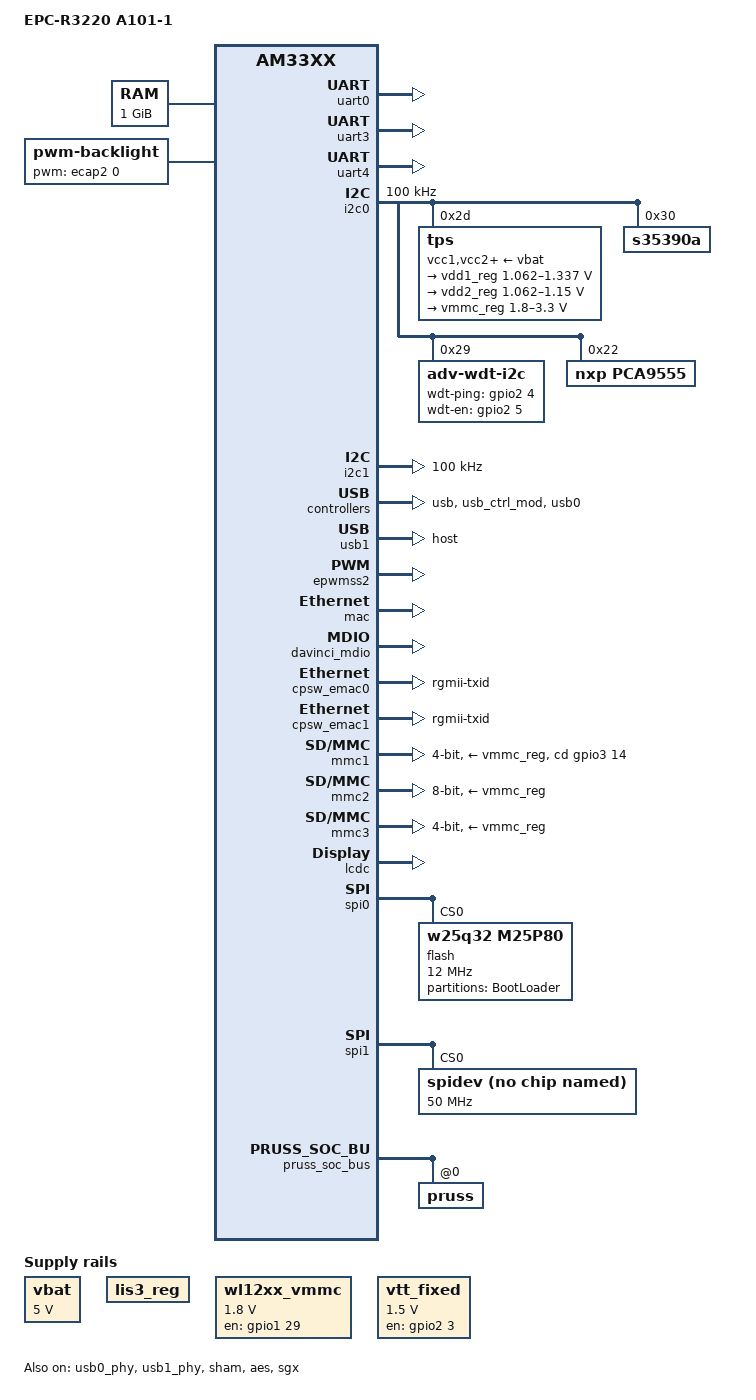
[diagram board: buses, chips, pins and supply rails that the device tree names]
/*
 * Copyright (C) 2012 Texas Instruments Incorporated - http://www.ti.com/
 *
 * This program is free software; you can redistribute it and/or modify
 * it under the terms of the GNU General Public License version 2 as
 * published by the Free Software Foundation.
 */

/*
 * AM335x Starter Kit
 * http://www.ti.com/tool/tmdssk3358
 */

/dts-v1/;

#include "am33xx.dtsi"
#include <dt-bindings/pwm/pwm.h>
#include <dt-bindings/interrupt-controller/irq.h>

/ {
	model = "EPC-R3220 A101-1";
	compatible = "ti,am335x-evmsk", "ti,am33xx";

	cpus {
		cpu@0 {
			cpu0-supply = <&vdd1_reg>;
		};
	};

	memory {
		device_type = "memory";
		reg = <0x80000000 0x40000000>; /*2 * 256 MB */
	};

	vbat: fixedregulator@0 {
		compatible = "regulator-fixed";
		regulator-name = "vbat";
		regulator-min-microvolt = <5000000>;
		regulator-max-microvolt = <5000000>;
		regulator-boot-on;
	};

	lis3_reg: fixedregulator@1 {
		compatible = "regulator-fixed";
		regulator-name = "lis3_reg";
		regulator-boot-on;
	};

	wl12xx_vmmc: fixedregulator@2 {
		pinctrl-names = "default";
		pinctrl-0 = <&wl12xx_gpio>;
		compatible = "regulator-fixed";
		regulator-name = "vwl1271";
		regulator-min-microvolt = <1800000>;
		regulator-max-microvolt = <1800000>;
		gpio = <&gpio1 29 0>;
		startup-delay-us = <70000>;
		enable-active-high;
	};

	vtt_fixed: fixedregulator@3 {
		compatible = "regulator-fixed";
		regulator-name = "vtt";
		regulator-min-microvolt = <1500000>;
		regulator-max-microvolt = <1500000>;
		gpio = <&gpio2 3 GPIO_ACTIVE_HIGH>;
		regulator-always-on;
		regulator-boot-on;
		enable-active-high;
	};

	backlight {
		compatible = "pwm-backlight";
		pwms = <&ecap2 0 50000 0>;
		brightness-levels = <0 5 30 66 75 90 125 170 255>;
		default-brightness-level = <8>;

	};

	panel {
		compatible = "ti,tilcdc,panel";
		pinctrl-names = "default", "sleep";
		/*pinctrl-0 = <&lcd_pins_default>;
		pinctrl-1 = <&lcd_pins_sleep>;*/
		status = "disabled";
		adv_lcd_timing=<111 1 50
						66 1 250
						112 1 0
					>;

		panel-info {
			ac-bias           = <255>;
			ac-bias-intrpt    = <0>;
			dma-burst-sz      = <16>;
			bpp               = <32>;
			fdd               = <0x80>;
			sync-edge         = <0>;
			sync-ctrl         = <1>;
			raster-order      = <0>;
			fifo-th           = <0>;
		};
		display-timings {
			800x480 {
				hactive         = <800>;
				vactive         = <480>;
				hback-porch     = <96>;
				hfront-porch    = <24>;
				hsync-len       = <72>;
				vback-porch     = <3>;
				vfront-porch    = <10>;
				vsync-len       = <7>;
				clock-frequency = <29500000>;
				hsync-active    = <0>;
				vsync-active    = <0>;
			};
		};
	};
};

&am33xx_pinmux {
	pinctrl-names = "default";
	pinctrl-0 = <&wdt_pins_default>;

	ddr3_vtt_toggle: ddr3_vtt_toggle {
		pinctrl-single,pins = <
			AM33XX_IOPAD(0x894, 0x7)	/* gpmc_oen_ren.gpio2_3, OUTPUT | MODE7 */
		>;
	};

	user_leds_default: user_leds_default {
		pinctrl-single,pins = <
			AM33XX_IOPAD(0x810, PIN_OUTPUT_PULLDOWN | MUX_MODE7)	/* gpmc_ad4.gpio1_4 */
			AM33XX_IOPAD(0x814, PIN_OUTPUT_PULLDOWN | MUX_MODE7)	/* gpmc_ad5.gpio1_5 */
			AM33XX_IOPAD(0x818, PIN_OUTPUT_PULLDOWN | MUX_MODE7)	/* gpmc_ad6.gpio1_6 */
			AM33XX_IOPAD(0x81c, PIN_OUTPUT_PULLDOWN | MUX_MODE7)	/* gpmc_ad7.gpio1_7 */
		>;
	};

	user_leds_sleep: user_leds_sleep {
		pinctrl-single,pins = <
			AM33XX_IOPAD(0x810, PIN_INPUT_PULLDOWN | MUX_MODE7)	/* gpmc_a5.gpio1_21 */
			AM33XX_IOPAD(0x814, PIN_INPUT_PULLDOWN | MUX_MODE7)	/* gpmc_a6.gpio1_22 */
			AM33XX_IOPAD(0x818, PIN_INPUT_PULLDOWN | MUX_MODE7)	/* gpmc_a7.gpio1_23 */
			AM33XX_IOPAD(0x81c, PIN_INPUT_PULLDOWN | MUX_MODE7)	/* gpmc_a8.gpio1_24 */
		>;
	};

	i2c0_pins: pinmux_i2c0_pins {
		pinctrl-single,pins = <
			AM33XX_IOPAD(0x988, PIN_INPUT_PULLUP | MUX_MODE0)	/* i2c0_sda.i2c0_sda */
			AM33XX_IOPAD(0x98c, PIN_INPUT_PULLUP | MUX_MODE0)	/* i2c0_scl.i2c0_scl */
		>;
	};
	
	i2c1_pins: i2c1_pins {
		pinctrl-single,pins = <
			AM33XX_IOPAD(0x96c, PIN_INPUT | MUX_MODE3 ) /* (E17) uart0_rtsn.I2C1_SCL */
			AM33XX_IOPAD(0x968, PIN_INPUT | MUX_MODE3 ) /* (E18) uart0_ctsn.I2C1_SDA */
		>;
	};

	uart0_pins: pinmux_uart0_pins {
		pinctrl-single,pins = <
			AM33XX_IOPAD(0x970, PIN_INPUT_PULLUP | MUX_MODE0)	/* uart0_rxd.uart0_rxd */
			AM33XX_IOPAD(0x974, PIN_OUTPUT_PULLDOWN | MUX_MODE0)		/* uart0_txd.uart0_txd */
		>;
	};

	uart1_pins_default: pinmux_uart1_pins_default {
		pinctrl-single,pins = <
			AM33XX_IOPAD(0x978, PIN_INPUT | MUX_MODE0)			/* uart1_ctsn.uart1_ctsn */
			AM33XX_IOPAD(0x97C, PIN_OUTPUT_PULLDOWN | MUX_MODE0)		/* uart1_rtsn.uart1_rtsn */
			AM33XX_IOPAD(0x980, PIN_INPUT_PULLUP | MUX_MODE0)		/* uart1_rxd.uart1_rxd */
			AM33XX_IOPAD(0x984, PIN_OUTPUT_PULLDOWN | MUX_MODE0) 	/* uart1_txd.uart1_txd */
		>;
	};

	uart1_pins_sleep: pinmux_uart1_pins_sleep {
		pinctrl-single,pins = <
			AM33XX_IOPAD(0x978, PIN_INPUT_PULLDOWN | MUX_MODE7)
			AM33XX_IOPAD(0x97C, PIN_INPUT_PULLDOWN | MUX_MODE7)
			AM33XX_IOPAD(0x980, PIN_INPUT_PULLDOWN | MUX_MODE7)
			AM33XX_IOPAD(0x984, PIN_INPUT_PULLDOWN | MUX_MODE7)
		>;
	};

	uart2_pins_default: pinmux_uart2_pins_default {
		pinctrl-single,pins = <
			AM33XX_IOPAD(0x90c, PIN_INPUT_PULLUP | MUX_MODE6)		/* mii1_crs.uart2_rxd */
			AM33XX_IOPAD(0x910, PIN_OUTPUT_PULLDOWN | MUX_MODE6) 	/* mii1_rxerr.uart2_txd */
		>;
	};

	uart2_pins_sleep: pinmux_uart2_pins_sleep {
		pinctrl-single,pins = <
			AM33XX_IOPAD(0x90c, PIN_INPUT_PULLDOWN | MUX_MODE7)
			AM33XX_IOPAD(0x910, PIN_INPUT_PULLDOWN | MUX_MODE7)
		>;
	};

	uart3_pins_default: pinmux_uart3_pins_default {
		pinctrl-single,pins = <
			AM33XX_IOPAD(0x960, PIN_INPUT | MUX_MODE1 ) /* (C15) spi0_cs1.uart3_rxd */
			AM33XX_IOPAD(0x964, PIN_OUTPUT | MUX_MODE1 ) /* (C18) eCAP0_in_PWM0_out.uart3_txd */
			AM33XX_IOPAD(0x8c8, PIN_INPUT | MUX_MODE6 ) /* (U3) lcd_data10.uart3_ctsn */
			AM33XX_IOPAD(0x8cc, PIN_OUTPUT | MUX_MODE6 ) /* (U4) lcd_data11.uart3_rtsn */
		>;
	};

	uart3_pins_sleep: pinmux_uart3_pins_sleep {
		pinctrl-single,pins = <
			AM33XX_IOPAD(0x960, PIN_INPUT_PULLDOWN | MUX_MODE7)
			AM33XX_IOPAD(0x964, PIN_INPUT_PULLDOWN | MUX_MODE7)
			AM33XX_IOPAD(0x8c8, PIN_INPUT_PULLDOWN | MUX_MODE7) /* (U3) lcd_data10.uart3_ctsn */
			AM33XX_IOPAD(0x8cc, PIN_INPUT_PULLDOWN | MUX_MODE7) /* (U4) lcd_data11.uart3_rtsn */
		>;
	};

	uart3_rs485_mode: pinmux_uart3_rs485 {
                pinctrl-single,pins = <
			AM33XX_IOPAD(0x960, PIN_INPUT | MUX_MODE1 ) /* (C15) spi0_cs1.uart3_rxd */
			AM33XX_IOPAD(0x964, PIN_OUTPUT | MUX_MODE1 ) /* (C18) eCAP0_in_PWM0_out.uart3_txd */
			AM33XX_IOPAD(0x8c8, PIN_INPUT_PULLDOWN | MUX_MODE7) /* (U3) lcd_data10.uart3_ctsn */
                        AM33XX_IOPAD(0x8cc, PIN_OUTPUT_PULLUP | MUX_MODE7 ) /* (U4) lcd_data11.uart3_rtsn */
                >;
	};

	uart4_pins_default: pinmux_uart4_pins_default {
		pinctrl-single,pins = <
			AM33XX_IOPAD(0x870, PIN_INPUT_PULLUP | MUX_MODE6)		/* gpmc_wait0.uart4_rxd */
			AM33XX_IOPAD(0x874, PIN_OUTPUT_PULLDOWN | MUX_MODE6) 		/* gpmc_wpn.uart4_txd */
			AM33XX_IOPAD(0x8d0, PIN_INPUT | MUX_MODE6 ) /* (V2) lcd_data12.uart4_ctsn */
			AM33XX_IOPAD(0x8d4, PIN_OUTPUT | MUX_MODE6 ) /* (V3) lcd_data13.uart4_rtsn */
		>;
	};

	uart4_pins_sleep: pinmux_uart4_pins_sleep {
		pinctrl-single,pins = <
			AM33XX_IOPAD(0x870, PIN_INPUT_PULLDOWN | MUX_MODE7)
			AM33XX_IOPAD(0x874, PIN_INPUT_PULLDOWN | MUX_MODE7)
			AM33XX_IOPAD(0x8d0, PIN_INPUT_PULLDOWN | MUX_MODE7) /* (V2) lcd_data12.uart4_ctsn */
			AM33XX_IOPAD(0x8d4, PIN_INPUT_PULLDOWN | MUX_MODE7) /* (V3) lcd_data13.uart4_rtsn */
		>;
	};

	uart4_rs485_mode: pinmux_uart4_rs485 {
		pinctrl-single,pins = <
			AM33XX_IOPAD(0x870, PIN_INPUT_PULLUP | MUX_MODE6)		/* gpmc_wait0.uart4_rxd */
			AM33XX_IOPAD(0x874, PIN_OUTPUT_PULLDOWN | MUX_MODE6) 		/* gpmc_wpn.uart4_txd */
			AM33XX_IOPAD(0x8d0, PIN_INPUT_PULLDOWN | MUX_MODE7) /* (V2) lcd_data12.uart4_ctsn */
			AM33XX_IOPAD(0x8d4, PIN_OUTPUT_PULLUP | MUX_MODE7 ) /* (V3) lcd_data13.uart4_rtsn */
		>;
	};

	uart5_pins_default: pinmux_uart5_pins_default {
		pinctrl-single,pins = <
			AM33XX_IOPAD(0x908, PIN_INPUT_PULLUP | MUX_MODE3)		/* mii1_col.uart5_rxd */
			AM33XX_IOPAD(0x944, PIN_OUTPUT_PULLDOWN | MUX_MODE3) 	/* rmii1_refclk.uart5_txd */
		>;
	};

	uart5_pins_sleep: pinmux_uart5_pins_sleep {
		pinctrl-single,pins = <
			AM33XX_IOPAD(0x908, PIN_INPUT_PULLDOWN | MUX_MODE7)
			AM33XX_IOPAD(0x944, PIN_INPUT_PULLDOWN | MUX_MODE7)
		>;
	};

	usb0_pins_default: pinmux_usb0_pins {
		pinctrl-single,pins = <
			AM33XX_IOPAD(0xa1c, PIN_OUTPUT_PULLDOWN | MUX_MODE0) /* usb0_drvvbus.usb0_drvvbus */
			AM33XX_IOPAD(0xa34, PIN_OUTPUT_PULLDOWN | MUX_MODE0) /* usb1_drvvbus.usb1_drvvbus */
		>;
	};

	dcan1_pins_default: dcan1_pins_default {
		pinctrl-single,pins = <
			AM33XX_IOPAD(0x968, PIN_OUTPUT | MUX_MODE2) 		/* uart0_ctsn.d_can1_tx */
			AM33XX_IOPAD(0x96c, PIN_INPUT_PULLDOWN | MUX_MODE2) /* uart0_rtsn.d_can1_rx */
		>;
	};

	clkout2_pin: pinmux_clkout2_pin {
		pinctrl-single,pins = <
			AM33XX_IOPAD(0x9b4, PIN_OUTPUT_PULLDOWN | MUX_MODE3)		/* xdma_event_intr1.clkout2 */
		>;
	};

	ecap2_pins: backlight_pins {
		pinctrl-single,pins = <
			AM33XX_IOPAD(0x99c, 0x4)	/* mcasp0_ahclkr.ecap2_in_pwm2_out MODE4 */
		>;
	};

	spi0_pins: pinmux_spi0_pins {
		pinctrl-single,pins = <
			AM33XX_IOPAD(0x950, PIN_INPUT_PULLUP | MUX_MODE0)          /* sspi0_sclk.spi0_sclk */
			AM33XX_IOPAD(0x954, PIN_INPUT_PULLUP | MUX_MODE0)          /* spi0_d0.spi0_d0 */
			AM33XX_IOPAD(0x958, PIN_OUTPUT_PULLUP | MUX_MODE0)         /* spi0_d1.spi0_d1 */
			AM33XX_IOPAD(0x95c, PIN_OUTPUT_PULLUP | MUX_MODE0)         /* spi0_cs0.spi0_cs0 */
		>;
	};
	
	spi1_pins: spi1_pins {
		pinctrl-single,pins = <
			AM33XX_IOPAD(0x908, PIN_INPUT | MUX_MODE2 ) /* (H16) gmii1_col.spi1_sclk */
			AM33XX_IOPAD(0x90c, PIN_INPUT | MUX_MODE2 ) /* (H17) gmii1_crs.spi1_d0 */
			AM33XX_IOPAD(0x910, PIN_INPUT | MUX_MODE2 ) /* (J15) gmii1_rxer.spi1_d1 */
			AM33XX_IOPAD(0x944, PIN_INPUT | MUX_MODE2 ) /* (H18) rmii1_refclk.spi1_cs0 */
		>;
	};

	wdt_pins_default: pinmux_wdt_pins_default {
		pinctrl-single,pins = <
			AM33XX_IOPAD(0x89c, PIN_OUTPUT_PULLUP | MUX_MODE7 ) /* (T6) gpmc_be0n_cle.gpio2[5] */
			AM33XX_IOPAD(0x898, PIN_OUTPUT_PULLUP | MUX_MODE7) 		/* gpmc_wen.gpio2_4 */
		>;
	};

	cpsw_default: cpsw_default {
		pinctrl-single,pins = <
			/* Slave 1 */
			AM33XX_IOPAD(0x914, PIN_OUTPUT_PULLDOWN | MUX_MODE2)	/* mii1_txen.rgmii1_tctl */
			AM33XX_IOPAD(0x918, PIN_INPUT_PULLDOWN | MUX_MODE2)	/* mii1_rxdv.rgmii1_rctl */
			AM33XX_IOPAD(0x91c, PIN_OUTPUT_PULLDOWN | MUX_MODE2)	/* mii1_txd3.rgmii1_td3 */
			AM33XX_IOPAD(0x920, PIN_OUTPUT_PULLDOWN | MUX_MODE2)	/* mii1_txd2.rgmii1_td2 */
			AM33XX_IOPAD(0x924, PIN_OUTPUT_PULLDOWN | MUX_MODE2)	/* mii1_txd1.rgmii1_td1 */
			AM33XX_IOPAD(0x928, PIN_OUTPUT_PULLDOWN | MUX_MODE2)	/* mii1_txd0.rgmii1_td0 */
			AM33XX_IOPAD(0x92c, PIN_OUTPUT_PULLDOWN | MUX_MODE2)	/* mii1_txclk.rgmii1_tclk */
			AM33XX_IOPAD(0x930, PIN_INPUT_PULLDOWN | MUX_MODE2)	/* mii1_rxclk.rgmii1_rclk */
			AM33XX_IOPAD(0x934, PIN_INPUT_PULLDOWN | MUX_MODE2)	/* mii1_rxd3.rgmii1_rd3 */
			AM33XX_IOPAD(0x938, PIN_INPUT_PULLDOWN | MUX_MODE2)	/* mii1_rxd2.rgmii1_rd2 */
			AM33XX_IOPAD(0x93c, PIN_INPUT_PULLDOWN | MUX_MODE2)	/* mii1_rxd1.rgmii1_rd1 */
			AM33XX_IOPAD(0x940, PIN_INPUT_PULLDOWN | MUX_MODE2)	/* mii1_rxd0.rgmii1_rd0 */

			/* Slave 2 */
			AM33XX_IOPAD(0x840, PIN_OUTPUT_PULLDOWN | MUX_MODE2)	/* gpmc_a0.rgmii2_tctl */
			AM33XX_IOPAD(0x844, PIN_INPUT_PULLDOWN | MUX_MODE2)	/* gpmc_a1.rgmii2_rctl */
			AM33XX_IOPAD(0x848, PIN_OUTPUT_PULLDOWN | MUX_MODE2)	/* gpmc_a2.rgmii2_td3 */
			AM33XX_IOPAD(0x84c, PIN_OUTPUT_PULLDOWN | MUX_MODE2)	/* gpmc_a3.rgmii2_td2 */
			AM33XX_IOPAD(0x850, PIN_OUTPUT_PULLDOWN | MUX_MODE2)	/* gpmc_a4.rgmii2_td1 */
			AM33XX_IOPAD(0x854, PIN_OUTPUT_PULLDOWN | MUX_MODE2)	/* gpmc_a5.rgmii2_td0 */
			AM33XX_IOPAD(0x858, PIN_OUTPUT_PULLDOWN | MUX_MODE2)	/* gpmc_a6.rgmii2_tclk */
			AM33XX_IOPAD(0x85c, PIN_INPUT_PULLDOWN | MUX_MODE2)	/* gpmc_a7.rgmii2_rclk */
			AM33XX_IOPAD(0x860, PIN_INPUT_PULLDOWN | MUX_MODE2)	/* gpmc_a8.rgmii2_rd3 */
			AM33XX_IOPAD(0x864, PIN_INPUT_PULLDOWN | MUX_MODE2)	/* gpmc_a9.rgmii2_rd2 */
			AM33XX_IOPAD(0x868, PIN_INPUT_PULLDOWN | MUX_MODE2)	/* gpmc_a10.rgmii2_rd1 */
			AM33XX_IOPAD(0x86c, PIN_INPUT_PULLDOWN | MUX_MODE2)	/* gpmc_a11.rgmii2_rd0 */
		>;
	};

	cpsw_sleep: cpsw_sleep {
		pinctrl-single,pins = <
			/* Slave 1 reset value */
			AM33XX_IOPAD(0x914, PIN_INPUT_PULLDOWN | MUX_MODE7)
			AM33XX_IOPAD(0x918, PIN_INPUT_PULLDOWN | MUX_MODE7)
			AM33XX_IOPAD(0x91c, PIN_INPUT_PULLDOWN | MUX_MODE7)
			AM33XX_IOPAD(0x920, PIN_INPUT_PULLDOWN | MUX_MODE7)
			AM33XX_IOPAD(0x924, PIN_INPUT_PULLDOWN | MUX_MODE7)
			AM33XX_IOPAD(0x928, PIN_INPUT_PULLDOWN | MUX_MODE7)
			AM33XX_IOPAD(0x92c, PIN_INPUT_PULLDOWN | MUX_MODE7)
			AM33XX_IOPAD(0x930, PIN_INPUT_PULLDOWN | MUX_MODE7)
			AM33XX_IOPAD(0x934, PIN_INPUT_PULLDOWN | MUX_MODE7)
			AM33XX_IOPAD(0x938, PIN_INPUT_PULLDOWN | MUX_MODE7)
			AM33XX_IOPAD(0x93c, PIN_INPUT_PULLDOWN | MUX_MODE7)
			AM33XX_IOPAD(0x940, PIN_INPUT_PULLDOWN | MUX_MODE7)

			/* Slave 2 reset value*/
			AM33XX_IOPAD(0x840, PIN_INPUT_PULLDOWN | MUX_MODE7)
			AM33XX_IOPAD(0x844, PIN_INPUT_PULLDOWN | MUX_MODE7)
			AM33XX_IOPAD(0x848, PIN_INPUT_PULLDOWN | MUX_MODE7)
			AM33XX_IOPAD(0x84c, PIN_INPUT_PULLDOWN | MUX_MODE7)
			AM33XX_IOPAD(0x850, PIN_INPUT_PULLDOWN | MUX_MODE7)
			AM33XX_IOPAD(0x854, PIN_INPUT_PULLDOWN | MUX_MODE7)
			AM33XX_IOPAD(0x858, PIN_INPUT_PULLDOWN | MUX_MODE7)
			AM33XX_IOPAD(0x85c, PIN_INPUT_PULLDOWN | MUX_MODE7)
			AM33XX_IOPAD(0x860, PIN_INPUT_PULLDOWN | MUX_MODE7)
			AM33XX_IOPAD(0x864, PIN_INPUT_PULLDOWN | MUX_MODE7)
			AM33XX_IOPAD(0x868, PIN_INPUT_PULLDOWN | MUX_MODE7)
			AM33XX_IOPAD(0x86c, PIN_INPUT_PULLDOWN | MUX_MODE7)
		>;
	};

	davinci_mdio_default: davinci_mdio_default {
		pinctrl-single,pins = <
			/* MDIO */
			AM33XX_IOPAD(0x948, PIN_INPUT_PULLUP | SLEWCTRL_FAST | MUX_MODE0)	/* mdio_data.mdio_data */
			AM33XX_IOPAD(0x94c, PIN_OUTPUT_PULLUP | MUX_MODE0)			/* mdio_clk.mdio_clk */
		>;
	};

	davinci_mdio_sleep: davinci_mdio_sleep {
		pinctrl-single,pins = <
			/* MDIO reset value */
			AM33XX_IOPAD(0x948, PIN_INPUT_PULLDOWN | MUX_MODE7)
			AM33XX_IOPAD(0x94c, PIN_INPUT_PULLDOWN | MUX_MODE7)
		>;
	};

	mmc1_pins: pinmux_mmc1_pins {
		pinctrl-single,pins = <
			AM33XX_IOPAD(0x8F0, PIN_INPUT_PULLUP | MUX_MODE0)	/* mmc0_dat3.mmc0_dat3 */
			AM33XX_IOPAD(0x8F4, PIN_INPUT_PULLUP | MUX_MODE0)	/* mmc0_dat2.mmc0_dat2 */
			AM33XX_IOPAD(0x8F8, PIN_INPUT_PULLUP | MUX_MODE0)	/* mmc0_dat1.mmc0_dat1 */
			AM33XX_IOPAD(0x8FC, PIN_INPUT_PULLUP | MUX_MODE0)	/* mmc0_dat0.mmc0_dat0 */
			AM33XX_IOPAD(0x900, PIN_INPUT_PULLUP | MUX_MODE0)	/* mmc0_clk.mmc0_clk */
			AM33XX_IOPAD(0x904, PIN_INPUT_PULLUP | MUX_MODE0)	/* mmc0_cmd.mmc0_cmd */
			AM33XX_IOPAD(0x9A0, PIN_INPUT_PULLUP | MUX_MODE7)	/* mcasp0_aclkr.gpio3_18 */
			AM33XX_IOPAD(0x990, PIN_INPUT_PULLUP | MUX_MODE7)	/* mcasp0_aclkx.gpio3_14 */
		>;
	};

	mcasp1_pins: mcasp1_pins {
		pinctrl-single,pins = <
			AM33XX_IOPAD(0x90c, PIN_INPUT_PULLDOWN | MUX_MODE4) /* mii1_crs.mcasp1_aclkx */
			AM33XX_IOPAD(0x910, PIN_INPUT_PULLDOWN | MUX_MODE4) /* mii1_rxerr.mcasp1_fsx */
			AM33XX_IOPAD(0x908, PIN_OUTPUT_PULLDOWN | MUX_MODE4) /* mii1_col.mcasp1_axr2 */
			AM33XX_IOPAD(0x944, PIN_INPUT_PULLDOWN | MUX_MODE4) /* rmii1_ref_clk.mcasp1_axr3 */
		>;
	};

	mcasp1_pins_sleep: mcasp1_pins_sleep {
		pinctrl-single,pins = <
			AM33XX_IOPAD(0x90c, PIN_INPUT_PULLDOWN | MUX_MODE7)
			AM33XX_IOPAD(0x910, PIN_INPUT_PULLDOWN | MUX_MODE7)
			AM33XX_IOPAD(0x908, PIN_INPUT_PULLDOWN | MUX_MODE7)
			AM33XX_IOPAD(0x944, PIN_INPUT_PULLDOWN | MUX_MODE7)
		>;
	};

	mmc2_pins: pinmux_mmc2_pins {
		pinctrl-single,pins = <
			AM33XX_IOPAD(0x880, PIN_INPUT_PULLUP | MUX_MODE2) /* gpmc_csn1.mmc1_clk */
			AM33XX_IOPAD(0x884, PIN_INPUT_PULLUP | MUX_MODE2) /* gpmc_csn2.mmc1_cmd */
			AM33XX_IOPAD(0x800, PIN_INPUT_PULLUP | MUX_MODE1) /* gpmc_ad0.mmc1_dat0 */
			AM33XX_IOPAD(0x804, PIN_INPUT_PULLUP | MUX_MODE1) /* gpmc_ad1.mmc1_dat1 */
			AM33XX_IOPAD(0x808, PIN_INPUT_PULLUP | MUX_MODE1) /* gpmc_ad2.mmc1_dat2 */
			AM33XX_IOPAD(0x80c, PIN_INPUT_PULLUP | MUX_MODE1) /* gpmc_ad3.mmc1_dat3 */
			AM33XX_IOPAD(0x810, PIN_INPUT_PULLUP | MUX_MODE1) /* gpmc_ad4.mmc1_dat4 */
			AM33XX_IOPAD(0x814, PIN_INPUT_PULLUP | MUX_MODE1) /* gpmc_ad5.mmc1_dat5 */
			AM33XX_IOPAD(0x818, PIN_INPUT_PULLUP | MUX_MODE1) /* gpmc_ad6.mmc1_dat6 */
			AM33XX_IOPAD(0x81c, PIN_INPUT_PULLUP | MUX_MODE1) /* gpmc_ad7.mmc1_dat7 */
		>;
	};
	
	mmc3_pins: mmc3_pins {
		pinctrl-single,pins = <
			AM33XX_IOPAD(0x88c, PIN_INPUT | MUX_MODE3 ) /* (V12) gpmc_clk.mmc2_clk */
			AM33XX_IOPAD(0x888, PIN_INPUT | MUX_MODE3 ) /* (T13) gpmc_csn3.mmc2_cmd */
			AM33XX_IOPAD(0x830, PIN_INPUT | MUX_MODE3 ) /* (T12) gpmc_ad12.mmc2_dat0 */
			AM33XX_IOPAD(0x834, PIN_INPUT | MUX_MODE3 ) /* (R12) gpmc_ad13.mmc2_dat1 */
			AM33XX_IOPAD(0x838, PIN_INPUT | MUX_MODE3 ) /* (V13) gpmc_ad14.mmc2_dat2 */
			AM33XX_IOPAD(0x83c, PIN_INPUT | MUX_MODE3 ) /* (U13) gpmc_ad15.mmc2_dat3 */
		>;
	};

	wl12xx_gpio: pinmux_wl12xx_gpio {
		pinctrl-single,pins = <
			AM33XX_IOPAD(0x87c, PIN_OUTPUT_PULLUP | MUX_MODE7) /* gpmc_csn0.gpio1_29 */
		>;
	};

};

&uart0 {
	pinctrl-names = "default";
	pinctrl-0 = <&uart0_pins>;

	status = "okay";
};

&uart1 {
	pinctrl-names = "default";
	pinctrl-0 = <&uart1_pins_default>;
	adv_rs485flag_gpio = <45>;
	status = "disabled";
};

&uart2 {
	pinctrl-names = "default";
	pinctrl-0 = <&uart2_pins_default>;
	status = "disabled";
};

&uart3 {
	pinctrl-names = "default","rs485_mode";
	pinctrl-0 = <&uart3_pins_default>;
	pinctrl-1 = <&uart3_rs485_mode>;
	rts-gpio = <&gpio2 17 GPIO_ACTIVE_LOW>;
	rs485-rts-active-high;
	rs485-rx-during-tx;
	rs485-rts-delay = <1 0>;
	adv_rs485flag_gpio = <499>;
	status = "okay";
};

&uart4 {
	pinctrl-names = "default","rs485_mode";
	pinctrl-0 = <&uart4_pins_default>;
	pinctrl-1 = <&uart4_rs485_mode>;
	rts-gpio = <&gpio0 9 GPIO_ACTIVE_LOW>;
	rs485-rts-active-high;
	rs485-rx-during-tx;
	rs485-rts-delay = <1 0>;
	adv_rs485flag_gpio = <502>;
	status = "okay";
};

&uart5 {
	pinctrl-names = "default";
	pinctrl-0 = <&uart5_pins_default>;

	status = "disabled";
};

&i2c0 {
	pinctrl-names = "default";
	pinctrl-0 = <&i2c0_pins>;

	status = "okay";
	clock-frequency = <100000>;

	tps: tps@2d {
		reg = <0x2d>;
	};

	s35390a: s35390a@30 {
		compatible = "s35390a";
		reg = <0x30>;
		status = "okay";
	};

	adv-wdt-i2c@29 {
		compatible = "adv-wdt-i2c";
		reg = <0x29>;
		wdt-ping = <&gpio2 4 GPIO_ACTIVE_HIGH>;
		wdt-en = <&gpio2 5 GPIO_ACTIVE_HIGH>;
	};

	pca9555: gpio@22 {
		compatible = "nxp,pca9555";
		reg = <0x22>;
		polarity = <0>;
		default_value = <0 0 0 0 0 0 0 0 0 1 1 0 1 1 0 0>;
		default_direction = <0 0 0 0 0 0 0 0 1 1 1 1 1 1 0 0>;
		export_flag = <1 1 1 1 1 1 0 0 1 1 1 1 1 1 0 0>;
		status = "okay";
	};
};

&i2c1 {
	pinctrl-names = "default";
	pinctrl-0 = <&i2c1_pins>;

	status = "okay";
	clock-frequency = <100000>;

};

&usb {
	status = "okay";
	pinctrl-names = "default";
	pinctrl-0 = <&usb0_pins_default>;	
};

&usb_ctrl_mod {
	status = "okay";
};

&usb0_phy {
	status = "okay";
};

&usb1_phy {
	status = "okay";
};

&usb0 {
	status = "okay";
};

&usb1 {
	status = "okay";
	dr_mode = "host";
};

&cppi41dma  {
	status = "okay";
};

&epwmss2 {
	status = "okay";

	ecap2: ecap@48304100 {
		status = "disabled";
		pinctrl-names = "default";
		pinctrl-0 = <&ecap2_pins>;
	};
};

&wkup_m3_ipc {
	ti,needs-vtt-toggle;
	ti,vtt-gpio-pin = <67>;
	ti,scale-data-fw = "am335x-evm-scale-data.bin";
};

#include "tps65910.dtsi"

&tps {
	vcc1-supply = <&vbat>;
	vcc2-supply = <&vbat>;
	vcc3-supply = <&vbat>;
	vcc4-supply = <&vbat>;
	vcc5-supply = <&vbat>;
	vcc6-supply = <&vbat>;
	vcc7-supply = <&vbat>;
	vccio-supply = <&vbat>;

	regulators {
		vrtc_reg: regulator@0 {
			regulator-always-on;
		};

		vio_reg: regulator@1 {
			regulator-always-on;
		};

		vdd1_reg: regulator@2 {
			/* VDD_MPU voltage limits 0.95V - 1.26V with +/-4% tolerance */
			regulator-name = "vdd_mpu";
			regulator-min-microvolt = <1062500>;
			regulator-max-microvolt = <1337500>;
			regulator-boot-on;
			regulator-always-on;
		};

		vdd2_reg: regulator@3 {
			/* VDD_CORE voltage limits 0.95V - 1.1V with +/-4% tolerance */
			regulator-name = "vdd_core";
			regulator-min-microvolt = <1062500>;
			regulator-max-microvolt = <1150000>;
			regulator-boot-on;
			regulator-always-on;
		};

		vdd3_reg: regulator@4 {
			regulator-always-on;
		};

		vdig1_reg: regulator@5 {
			regulator-always-on;
		};

		vdig2_reg: regulator@6 {
			regulator-always-on;
		};

		vpll_reg: regulator@7 {
			regulator-always-on;
		};

		vdac_reg: regulator@8 {
			regulator-always-on;
		};

		vaux1_reg: regulator@9 {
			regulator-always-on;
		};

		vaux2_reg: regulator@10 {
			regulator-always-on;
		};

		vaux33_reg: regulator@11 {
			regulator-always-on;
		};

		vmmc_reg: regulator@12 {
			regulator-min-microvolt = <1800000>;
			regulator-max-microvolt = <3300000>;
			regulator-always-on;
		};
	};
};

&mac {
	pinctrl-names = "default", "sleep";
	pinctrl-0 = <&cpsw_default>;
	pinctrl-1 = <&cpsw_sleep>;
	dual_emac;
	status = "okay";
};

&davinci_mdio {
	pinctrl-names = "default", "sleep";
	pinctrl-0 = <&davinci_mdio_default>;
	pinctrl-1 = <&davinci_mdio_sleep>;
	status = "okay";
};

&cpsw_emac0 {
	phy_id = <&davinci_mdio>, <1>;
	phy-mode = "rgmii-txid";
	dual_emac_res_vlan = <2>;
	status = "okay";
};

&cpsw_emac1 {
	phy_id = <&davinci_mdio>, <7>;
	phy-mode = "rgmii-txid";
	dual_emac_res_vlan = <3>;
	status = "okay";
};

&mmc1 {
	status = "okay";
	vmmc-supply = <&vmmc_reg>;
	bus-width = <4>;
	pinctrl-names = "default";
	pinctrl-0 = <&mmc1_pins>;
	cd-gpios = <&gpio3 14 GPIO_ACTIVE_HIGH>;
};

&sham {
	status = "okay";
};

&aes {
	status = "okay";
};

&gpio0 {
	ti,no-reset-on-init;
};

&mmc2 {
	status = "okay";
	vmmc-supply = <&vmmc_reg>;
	ti,non-removable;
	bus-width = <8>;
	cap-power-off-card;
	pinctrl-names = "default";
	pinctrl-0 = <&mmc2_pins>;
};

&mmc3 {
	/* these are on the crossbar and are outlined in the
	   xbar-event-map element */
	dmas = <&edma_xbar 12 0 1
		&edma_xbar 13 0 2>;
	dma-names = "tx", "rx";
	status = "okay";
	vmmc-supply = <&vmmc_reg>;
	bus-width = <4>;
	pinctrl-names = "default";
	pinctrl-0 = <&mmc3_pins>;
	ti,non-removable;
	ti,needs-special-hs-handling;
	cap-power-off-card;
	keep-power-in-suspend;

	#address-cells = <1>;
	#size-cells = <0>;
/*	wlcore: wlcore@0 {
		compatible = "ti,wl1835";
		reg = <2>;
		interrupt-parent = <&gpio3>;
		interrupts = <17 IRQ_TYPE_LEVEL_HIGH>;
	};*/
};

&mcasp1 {
	#sound-dai-cells = <0>;
	pinctrl-names = "default", "sleep";
	pinctrl-0 = <&mcasp1_pins>;
	pinctrl-1 = <&mcasp1_pins_sleep>;

	status = "disabled";

	op-mode = <0>;          /* MCASP_IIS_MODE */
	tdm-slots = <2>;
	/* 4 serializers */
	serial-dir = <  /* 0: INACTIVE, 1: TX, 2: RX */
		0 0 1 2
	>;
	tx-num-evt = <32>;
	rx-num-evt = <32>;
};

&wdt2 {
	status = "disabled";
};

&tscadc {
	status = "disabled";
	tsc {
		ti,wires = <4>;
		ti,x-plate-resistance = <200>;
		ti,coordinate-readouts = <5>;
		ti,wire-config = <0x00 0x11 0x22 0x33>;
	};
};

&lcdc {
      status = "okay";
};

&sgx {
	status = "okay";
};

&spi0 {
	pinctrl-names = "default";
	pinctrl-0 = <&spi0_pins>;
	status = "okay";

	flash: m25p80@0 {
		compatible = "w25q32,m25p80";
		spi-max-frequency = <12000000>;
		reg = <0>;
		#address-cells = <1>;
		#size-cells = <1>;		

		/* MTD partition table.*/
		partition@0 {
		label = "BootLoader";
		reg = <0x00000000 0x00400000>;
		};
	};
};

&spi1 {
	pinctrl-names = "default";
	pinctrl-0 = <&spi1_pins>;
	status = "okay";
	ti,spi-num-cs = <1>;
	ti,pindir-d0-out-d1-in;
	spidev@0{
		compatible = "spidev";
		reg = <0>;
		spi-max-frequency = <50000000>;
	};
};

&dcan1 {
	status = "disabled";
	pinctrl-names = "default";
	pinctrl-0 = <&dcan1_pins_default>;
};

&rtc {
	clocks = <&clk_32768_ck>, <&clkdiv32k_ick>;
	clock-names = "ext-clk", "int-clk";
	status = "disabled";
};

&pruss_soc_bus {
	status = "okay";

	pruss: pruss@0 {
		status = "okay";
	};
};

&gpio2 {
	ti,no-reset-on-init;
};

&gpio3 {
	ti,no-reset-on-init;
};

